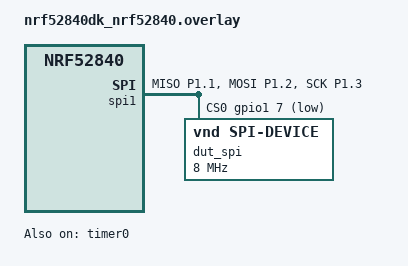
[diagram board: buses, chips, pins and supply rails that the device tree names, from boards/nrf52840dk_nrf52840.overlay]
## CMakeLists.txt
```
#
# Copyright (c) 2025 Nordic Semiconductor ASA
#
# SPDX-License-Identifier: LicenseRef-Nordic-5-Clause
#

cmake_minimum_required(VERSION 3.20.0)

find_package(Zephyr REQUIRED HINTS $ENV{ZEPHYR_BASE})

project(spim_latency)

zephyr_include_directories(${ZEPHYR_BASE}/drivers/spi)

target_sources(app PRIVATE src/main.c)
```

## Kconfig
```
#
# Copyright (c) 2025 Nordic Semiconductor ASA
#
# SPDX-License-Identifier: LicenseRef-Nordic-5-Clause
#

config TEST_MEASUREMENT_REPEATS
	int "Number of latency measurements repeats"
	default 100

config TEST_MAX_BUFFER_SIZE
	int "Maximum SPI transceive buffer size allocated and tested"
	default 512 if SOC_NRF9251_CPUPPR
	default 512 if SOC_NRF54H20_CPUPPR
	default 2000

config TEST_SPI_LATENCY_SHORT_XFER_OVERHEAD_US
	int "Short transfer overhead time for SPI latency measurement"
	default 40 if SOC_SERIES_NRF52
	default 35 if SPI_RTIO
	default 23
	help
	  SPI driver takes semaphore after starting the transfer. Timeout is set and context is
	  switched with interrupts locked. If transfer is short (e.g. 1 byte) then it impacts
	  latency as SPI interrupt handling is delayed. Overhead is applied only to single byte
	  transfers.

config TEST_SPI_LATENCY_LONG_XFER_OVERHEAD_US
	int "Long transfer overhead time for SPI latency measurement"
	default 18
	help
	  When transfer is long then Read-only memory is going to low power mode and waking up
	  impacts interrupt handling latency. Overhead is applied only to long transfers as for
	  short (single byte) there is no time to go to sleep and interrupt handling is not delayed.

config TEST_SPI_LATENCY_BASE_OVERHEAD_US
	int "Base overhead time for SPI latency measurement"
	default 130 if SOC_NRF9251_CPUPPR || SOC_NRF54H20_CPUPPR
	default 77 if SOC_SERIES_NRF52
	default 65 if SOC_NRF5340_CPUAPP
	default 50 if SOC_NRF54LS05B_CPUAPP || SOC_NRF54LS05A_CPUAPP
	default 45 if SOC_NRF7120 || SOC_NRF7120E
	default 40

config TEST_SPI_LATENCY_PER_BYTE_OVERHEAD_US
	int "Overhead time per byte for SPI latency measurement"
	default 2 if RISCV_CORE_NORDIC_VPR && XIP
	default 1 if HAS_NORDIC_DMM
	default 0

source "Kconfig.zephyr"
```

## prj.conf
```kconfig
CONFIG_SPI=y
CONFIG_RTIO=y
CONFIG_SPI_RTIO=y

CONFIG_ZTEST=y
CONFIG_COUNTER=y
```

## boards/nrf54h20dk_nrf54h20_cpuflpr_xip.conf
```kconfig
# Copyright (c) 2026 Nordic Semiconductor ASA
#
# SPDX-License-Identifier: LicenseRef-Nordic-5-Clause

# nRF54H20 FLPR has no GPIO interrupts available
CONFIG_GPIO_NRFX_INTERRUPT=n
CONFIG_NRFX_GPIOTE=y

CONFIG_DK_LIBRARY=n
```

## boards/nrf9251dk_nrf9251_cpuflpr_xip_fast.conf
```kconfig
# Copyright (c) 2026 Nordic Semiconductor ASA
#
# SPDX-License-Identifier: LicenseRef-Nordic-5-Clause

# FLPR has no GPIO interrupts available
CONFIG_GPIO_NRFX_INTERRUPT=n
CONFIG_NRFX_GPIOTE=y
```

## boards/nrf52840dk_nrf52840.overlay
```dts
/*
 * Copyright (c) 2025 Nordic Semiconductor ASA
 *
 * SPDX-License-Identifier: LicenseRef-Nordic-5-Clause
 */

/* Required loopbacks:
 * P1.01 <-> P1.02
 */

/ {
	aliases {
		tst-timer = &timer0;
	};
};

&pinctrl {
	dut_spi_default: dut_spi_default {
		group1 {
			psels = <NRF_PSEL(SPIM_MISO, 1, 1)>,
				<NRF_PSEL(SPIM_MOSI, 1, 2)>,
				<NRF_PSEL(SPIM_SCK, 1, 3)>;
		};
	};

	dut_spi_sleep: dut_spi_sleep {
		group1 {
			psels = <NRF_PSEL(SPIM_MISO, 1, 1)>,
				<NRF_PSEL(SPIM_MOSI, 1, 2)>,
				<NRF_PSEL(SPIM_SCK, 1, 3)>;
			low-power-enable;
		};
	};
};

&spi1 {
	compatible = "nordic,nrf-spim";
	status = "okay";
	pinctrl-0 = <&dut_spi_default>;
	pinctrl-1 = <&dut_spi_sleep>;
	pinctrl-names = "default", "sleep";
	overrun-character = <0x00>;
	zephyr,pm-device-runtime-auto;
	cs-gpios = <&gpio1 7 GPIO_ACTIVE_LOW>;

	dut_spi: test-spi-dev@0 {
		compatible = "vnd,spi-device";
		reg = <0>;
		spi-max-frequency = <DT_FREQ_M(8)>;
	};
};

&timer0 {
	status = "okay";
};

&gpio1 {
	status = "okay";
};
```

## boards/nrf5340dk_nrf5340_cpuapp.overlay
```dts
/*
 * Copyright (c) 2025 Nordic Semiconductor ASA
 *
 * SPDX-License-Identifier: LicenseRef-Nordic-5-Clause
 */

/* Required loopbacks:
 * P0.04 <-> P0.05
 */

/ {
	aliases {
		tst-timer = &timer0;
	};
};

&pinctrl {
	dut_spi_default: dut_spi_default {
		group1 {
			psels = <NRF_PSEL(SPIM_MISO, 0, 4)>,
				<NRF_PSEL(SPIM_MOSI, 0, 5)>,
				<NRF_PSEL(SPIM_SCK, 0, 6)>;
		};
	};

	dut_spi_sleep: dut_spi_sleep {
		group1 {
			psels = <NRF_PSEL(SPIM_MISO, 0, 4)>,
				<NRF_PSEL(SPIM_MOSI, 0, 5)>,
				<NRF_PSEL(SPIM_SCK, 0, 6)>;
			low-power-enable;
		};
	};
};

&spi1 {
	compatible = "nordic,nrf-spim";
	status = "okay";
	pinctrl-0 = <&dut_spi_default>;
	pinctrl-1 = <&dut_spi_sleep>;
	pinctrl-names = "default", "sleep";
	overrun-character = <0x00>;
	zephyr,pm-device-runtime-auto;
	cs-gpios = <&gpio0 8 GPIO_ACTIVE_LOW>;

	dut_spi: test-spi-dev@0 {
		compatible = "vnd,spi-device";
		reg = <0>;
		spi-max-frequency = <DT_FREQ_M(8)>;
	};
};

&timer0 {
	status = "okay";
};

&gpio0 {
	status = "okay";
};
```

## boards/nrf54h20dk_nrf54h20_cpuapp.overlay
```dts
/*
 * Copyright (c) 2025 Nordic Semiconductor ASA
 *
 * SPDX-License-Identifier: LicenseRef-Nordic-5-Clause
 */

/* Required loopbacks:
 * P0.07 <-> P0.06
 */

/ {
	aliases {
		tst-timer = &timer130;
	};
};

&gpiote130 {
	status = "okay";
	owned-channels = <0>;
};

&pinctrl {
	dut_spi_default: dut_spi_default {
		group1 {
			psels = <NRF_PSEL(SPIM_SCK, 0, 0)>,
				<NRF_PSEL(SPIM_MOSI, 0, 7)>,
				<NRF_PSEL(SPIM_MISO, 0, 6)>;
		};
	};

	dut_spi_sleep: dut_spi_sleep {
		group1 {
			psels = <NRF_PSEL(SPIM_SCK, 0, 0)>,
				<NRF_PSEL(SPIM_MISO, 0, 6)>,
				<NRF_PSEL(SPIM_MOSI, 0, 7)>;
			low-power-enable;
		};
	};
};

&spi130 {
	compatible = "nordic,nrf-spim";
	status = "okay";
	pinctrl-0 = <&dut_spi_default>;
	pinctrl-1 = <&dut_spi_sleep>;
	pinctrl-names = "default", "sleep";
	overrun-character = <0x00>;
	memory-regions = <&cpuapp_dma_region>;
	cs-gpios = <&gpio0 10 GPIO_ACTIVE_LOW>;
	zephyr,pm-device-runtime-auto;

	dut_spi: test-spi-dev@0 {
		compatible = "vnd,spi-device";
		reg = <0>;
		spi-max-frequency = <DT_FREQ_M(8)>;
	};
};

&exmif {
	status = "disabled";
};

&timer130 {
	status = "okay";
};
```

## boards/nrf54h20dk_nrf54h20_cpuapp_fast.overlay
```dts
/*
 * Copyright (c) 2025 Nordic Semiconductor ASA
 *
 * SPDX-License-Identifier: LicenseRef-Nordic-5-Clause
 */

/* Required loopbacks:
 * P7.06 <-> P7.07
 */

/ {
	aliases {
		tst-timer = &timer130;
	};
};

&gpiote130 {
	status = "okay";
	owned-channels = <0>;
};

&pinctrl {
	spi120_default: spi120_default {
		group1 {
			psels = <NRF_PSEL(SPIM_SCK, 7, 3)>,
				<NRF_PSEL(SPIM_MISO, 7, 6)>,
				<NRF_PSEL(SPIM_MOSI, 7, 7)>;
		};
	};

	spi120_sleep: spi120_sleep {
		group1 {
			psels = <NRF_PSEL(SPIM_SCK, 7, 3)>,
				<NRF_PSEL(SPIM_MISO, 7, 6)>,
				<NRF_PSEL(SPIM_MOSI, 7, 7)>;
			low-power-enable;
		};
	};
};

&spi130 {
	status = "disabled";
	/delete-property/ dut_spi_dt;
};

&gpio0 {
	status = "okay";
};

&spi120 {
	compatible = "nordic,nrf-spim";
	status = "okay";
	pinctrl-0 = <&spi120_default>;
	pinctrl-1 = <&spi120_sleep>;
	pinctrl-names = "default", "sleep";
	overrun-character = <0x00>;
	memory-regions = <&dma_fast_region>;
	cs-gpios = <&gpio0 10 GPIO_ACTIVE_HIGH>;
	zephyr,pm-device-runtime-auto;

	dut_spi: test-spi-dev@0 {
		compatible = "vnd,spi-device";
		reg = <0>;
		spi-max-frequency = <DT_FREQ_M(16)>;
	};
};

&dma_fast_region {
	status = "okay";
};

&exmif {
	status = "disabled";
};

&timer130 {
	status = "okay";
};
```

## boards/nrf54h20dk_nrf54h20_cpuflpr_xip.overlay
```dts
/*
 * Copyright (c) 2026 Nordic Semiconductor ASA
 *
 * SPDX-License-Identifier: LicenseRef-Nordic-5-Clause
 */

/* Required loopbacks:
 * P7.06 <-> P7.07
 */

&cpuflpr_code_partition {
	reg = <0xf4000 DT_SIZE_K(64)>;
};

/ {
	aliases {
		tst-timer = &timer120;
	};
};

&pinctrl {
	spi120_default: spi120_default {
		group1 {
			psels = <NRF_PSEL(SPIM_MISO, 7, 6)>;
		};

		group2 {
			psels = <NRF_PSEL(SPIM_SCK, 7, 3)>,
				<NRF_PSEL(SPIM_MOSI, 7, 7)>;
			nordic,drive-mode = <NRF_DRIVE_E0E1>;
		};
	};

	spi120_sleep: spi120_sleep {
		group1 {
			psels = <NRF_PSEL(SPIM_SCK, 7, 3)>,
				<NRF_PSEL(SPIM_MISO, 7, 6)>,
				<NRF_PSEL(SPIM_MOSI, 7, 7)>;
			low-power-enable;
		};
	};
};

&gpio7 {
	status = "okay";
};

&dma_fast_region {
	status = "okay";
};

&spi120 {
	compatible = "nordic,nrf-spim";
	status = "okay";
	pinctrl-0 = <&spi120_default>;
	pinctrl-1 = <&spi120_sleep>;
	pinctrl-names = "default", "sleep";
	overrun-character = <0x00>;
	memory-regions = <&dma_fast_region>;
	cs-gpios = <&gpio7 2 GPIO_ACTIVE_LOW>;
	zephyr,pm-device-runtime-auto;

	dut_spi: test-spi-dev@0 {
		compatible = "vnd,spi-device";
		reg = <0>;
		spi-max-frequency = <DT_FREQ_M(8)>;
	};
};

&uart120 {
	status = "disabled";
};

&timer120 {
	status = "okay";
};
```

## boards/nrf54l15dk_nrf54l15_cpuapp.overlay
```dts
/*
 * Copyright (c) 2025 Nordic Semiconductor ASA
 *
 * SPDX-License-Identifier: LicenseRef-Nordic-5-Clause
 */

/* Required loopbacks:
 * P1.10 <-> P1.11
 */

/ {
	aliases {
		tst-timer = &timer20;
	};
};

&pinctrl {
	dut_spi_default: dut_spi_default {
		group1 {
			psels = <NRF_PSEL(SPIM_SCK, 1, 8)>,
				<NRF_PSEL(SPIM_MISO, 1, 10)>,
				<NRF_PSEL(SPIM_MOSI, 1, 11)>;
		};
	};

	dut_spi_sleep: dut_spi_sleep {
		group1 {
			psels = <NRF_PSEL(SPIM_SCK, 1, 8)>,
				<NRF_PSEL(SPIM_MISO, 1, 10)>,
				<NRF_PSEL(SPIM_MOSI, 1, 11)>;
			low-power-enable;
		};
	};
};

&spi21 {
	compatible = "nordic,nrf-spim";
	status = "okay";
	pinctrl-0 = <&dut_spi_default>;
	pinctrl-1 = <&dut_spi_sleep>;
	pinctrl-names = "default", "sleep";
	overrun-character = <0x00>;
	zephyr,pm-device-runtime-auto;
	cs-gpios = <&gpio1 12 GPIO_ACTIVE_LOW>;

	dut_spi: test-spi-dev@0 {
		compatible = "vnd,spi-device";
		reg = <0>;
		spi-max-frequency = <DT_FREQ_M(8)>;
	};
};

&gpio1 {
	status = "okay";
};

&timer20 {
	status = "okay";
};
```

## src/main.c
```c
/*
 * Copyright (c) 2025 Nordic Semiconductor ASA
 *
 * SPDX-License-Identifier: LicenseRef-Nordic-5-Clause
 */

#include <zephyr/kernel.h>
#include <zephyr/ztest.h>
#include <zephyr/drivers/spi.h>
#include <nrfx_spim.h>
#include <zephyr/drivers/counter.h>
#include <dmm.h>
#include <math.h>

#define TEST_TIMER_COUNT_TIME_LIMIT_MS 500
#define MEASUREMENT_REPEATS	       CONFIG_TEST_MEASUREMENT_REPEATS

#define SPI_MODE                                                                                   \
	(SPI_OP_MODE_CONTROLLER | SPI_WORD_SET(8) | SPI_LINES_SINGLE | SPI_TRANSFER_MSB |      \
	 SPI_MODE_CPHA | SPI_MODE_CPOL)

#define MAX_TEST_BUFFER_SIZE CONFIG_TEST_MAX_BUFFER_SIZE

static struct spi_dt_spec spim_spec = SPI_DT_SPEC_GET(DT_NODELABEL(dut_spi), SPI_MODE);
const struct device *const tst_timer_dev = DEVICE_DT_GET(DT_ALIAS(tst_timer));

static uint8_t tx_buffer[MAX_TEST_BUFFER_SIZE] DMM_MEMORY_SECTION(DT_BUS(DT_NODELABEL(dut_spi)));
static uint8_t rx_buffer[MAX_TEST_BUFFER_SIZE] DMM_MEMORY_SECTION(DT_BUS(DT_NODELABEL(dut_spi)));

static void *test_setup(void)
{
	zassert_true(spi_is_ready_dt(&spim_spec), "SPIM device is not ready");

	return NULL;
}

static void cleanup_buffers(void *nullp)
{
	memset(tx_buffer, 0xFF, MAX_TEST_BUFFER_SIZE);
	memset(rx_buffer, 0xFF, MAX_TEST_BUFFER_SIZE);
}

static void prepare_test_data(uint8_t *buffer, size_t buffer_size)
{
	for (size_t counter = 0; counter < buffer_size; counter++) {
		buffer[counter] = counter + 1;
	}
}

static void configure_test_timer(const struct device *timer_dev, uint32_t count_time_ms)
{
	struct counter_alarm_cfg counter_cfg;

	counter_cfg.flags = 0;
	counter_cfg.ticks = counter_us_to_ticks(timer_dev, (uint64_t)count_time_ms * 1000);
	counter_cfg.user_data = &counter_cfg;
}

static uint32_t calculate_theoretical_transsmison_time_us(size_t buffer_size,
							  uint32_t spim_frequency)
{
	double ratio = 1000000.0 / (double)spim_frequency;

	return (uint32_t)(ceil(ratio * (double)(buffer_size * 8 + NRF_SPIM_CSNDUR_DEFAULT)));
}

static uint64_t calculate_maximal_overhead_us(size_t buffer_size)
{
	return  CONFIG_TEST_SPI_LATENCY_BASE_OVERHEAD_US +
		CONFIG_TEST_SPI_LATENCY_PER_BYTE_OVERHEAD_US * buffer_size +
		(buffer_size == 1 ? CONFIG_TEST_SPI_LATENCY_SHORT_XFER_OVERHEAD_US :
			CONFIG_TEST_SPI_LATENCY_LONG_XFER_OVERHEAD_US);
}
static void assess_measurement_result(uint64_t timer_value_us,
				      uint32_t theoretical_transmission_time_us, size_t buffer_size)
{
	uint64_t maximal_allowed_transmission_time_us;

	maximal_allowed_transmission_time_us = theoretical_transmission_time_us +
		calculate_maximal_overhead_us(buffer_size);

	zexpect_true(timer_value_us < maximal_allowed_transmission_time_us,
		     "Measured transmission call latency is over the specified limit %llu > %llu",
		     timer_value_us, maximal_allowed_transmission_time_us);
}

static void test_spim_transmission_latency(size_t buffer_size)
{
	int err;
	uint32_t tst_timer_value;
	uint64_t timer_value_us[MEASUREMENT_REPEATS];
	uint64_t average_timer_value_us = 0;
	uint32_t theoretical_transmission_time_us;

	struct spi_buf tx_spi_buf = {.buf = tx_buffer, .len = buffer_size};
	struct spi_buf_set tx_spi_buf_set = {.buffers = &tx_spi_buf, .count = 1};

	struct spi_buf rx_spi_buf = {.buf = rx_buffer, .len = buffer_size};
	struct spi_buf_set rx_spi_buf_set = {.buffers = &rx_spi_buf, .count = 1};

	TC_PRINT("SPIM latency in test with buffer size: %u bytes and frequency: %uHz\n",
		 buffer_size, spim_spec.config.frequency);
	TC_PRINT("Measurement repeats: %u\n", MEASUREMENT_REPEATS);

	prepare_test_data(tx_buffer, buffer_size);
	configure_test_timer(tst_timer_dev, TEST_TIMER_COUNT_TIME_LIMIT_MS);

	theoretical_transmission_time_us =
		calculate_theoretical_transsmison_time_us(buffer_size, spim_spec.config.frequency);

	for (uint32_t repeat_counter = 0; repeat_counter < MEASUREMENT_REPEATS; repeat_counter++) {
		memset(rx_buffer, 0xFF, buffer_size);
		counter_reset(tst_timer_dev);
		counter_start(tst_timer_dev);
		err = spi_transceive_dt(&spim_spec, &tx_spi_buf_set, &rx_spi_buf_set);
		counter_get_value(tst_timer_dev, &tst_timer_value);
		counter_stop(tst_timer_dev);
		timer_value_us[repeat_counter] =
			counter_ticks_to_us(tst_timer_dev, tst_timer_value);
		average_timer_value_us += timer_value_us[repeat_counter];

		zassert_ok(err, "SPI transceive failed");
		zassert_mem_equal(tx_buffer, rx_buffer, buffer_size,
			"0: TX = %u, RX = %u\n", tx_buffer[0], rx_buffer[0]);
	}

	average_timer_value_us /= MEASUREMENT_REPEATS;

	TC_PRINT("Calculated transmission time (for %u bytes) [us]: %u\n", buffer_size,
		 theoretical_transmission_time_us);
	TC_PRINT("spi_transceive_dt: measured transmission time (for %u bytes) [us]: %llu\n",
		 buffer_size, average_timer_value_us);
	TC_PRINT("spi_transceive_dt: measured - calculated time delta (for %d bytes) [us]: %lld\n",
		 buffer_size, average_timer_value_us - theoretical_transmission_time_us);
	TC_PRINT("Maximal allowed time delta (for %d bytes) [us]: %lld\n",
		 buffer_size, calculate_maximal_overhead_us(buffer_size));
	TC_PRINT("Theoretical maximal data rate (for buffer size %u bytes) [B/s]: %llu\n",
		 buffer_size, (uint64_t)(1e6 * buffer_size / theoretical_transmission_time_us));
	TC_PRINT("Calculated data rate (for buffer size %u bytes) [B/s]: %llu\n", buffer_size,
		 (uint64_t)(1e6 * buffer_size / average_timer_value_us));

	assess_measurement_result(average_timer_value_us, theoretical_transmission_time_us,
				  buffer_size);
}

ZTEST(spim_transmission_latency, test_spim_transceive_call_latency)
{
	test_spim_transmission_latency(1);
	test_spim_transmission_latency(128);
	test_spim_transmission_latency(512);
	test_spim_transmission_latency(MAX_TEST_BUFFER_SIZE);
}

ZTEST_SUITE(spim_transmission_latency, NULL, test_setup, NULL, cleanup_buffers, NULL);
```
